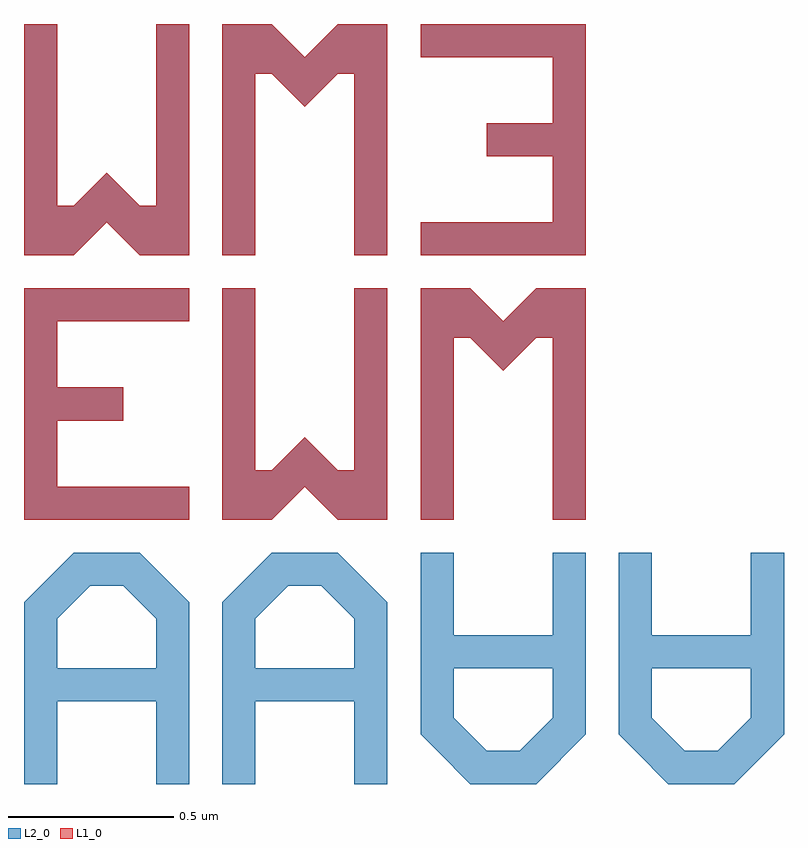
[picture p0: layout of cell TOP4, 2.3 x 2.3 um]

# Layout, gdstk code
from math import pi, radians
import gdstk
lib = gdstk.Library(unit=1e-6, precision=1e-09)
def P(c, l, *ps):  # polygons
    for p in ps: c.add(gdstk.Polygon(p, *l))
L1_0 = (1, 0)
L2_0 = (2, 0)

text_8_1 = lib.new_cell('TEXT$8$1')
P(text_8_1, L2_0, [(0,0),(0,0.55),(0.15,0.7),(0.35,0.7),(0.45,0.6),(0.2,0.6),(0.1,0.5),(0.1,0.35),(0.4,0.35),(0.4,0.5),(0.3,0.6),(0.45,0.6),(0.5,0.55),(0.5,0),(0.4,0),(0.4,0.25),(0.1,0.25),(0.1,0)],
  [(0.6,0),(0.6,0.55),(0.75,0.7),(0.95,0.7),(1.05,0.6),(0.8,0.6),(0.7,0.5),(0.7,0.35),(1,0.35),(1,0.5),(0.9,0.6),(1.05,0.6),(1.1,0.55),(1.1,0),(1,0),(1,0.25),(0.7,0.25),(0.7,0)])

c_aa = lib.new_cell('AA')
c_aa.add(gdstk.Reference(text_8_1, (0,0)))

text_4 = lib.new_cell('TEXT$4')
P(text_4, L1_0, [(0,0),(0,0.7),(0.5,0.7),(0.5,0.6),(0.1,0.6),(0.1,0.4),(0.3,0.4),(0.3,0.3),(0.1,0.3),(0.1,0.1),(0.5,0.1),(0.5,0)])

text_7 = lib.new_cell('TEXT$7')
P(text_7, L1_0, [(0,0),(0,0.7),(0.1,0.7),(0.1,0.15),(0.15,0.15),(0.25,0.25),(0.35,0.15),(0.4,0.15),(0.4,0.7),(0.5,0.7),(0.5,0),(0.35,0),(0.25,0.1),(0.15,0)])

text_4_1 = lib.new_cell('TEXT$4$1')
P(text_4_1, L2_0, [(0,0),(0,0.7),(0.1,0.7),(0.1,0.15),(0.15,0.15),(0.25,0.25),(0.35,0.15),(0.4,0.15),(0.4,0.7),(0.5,0.7),(0.5,0),(0.35,0),(0.25,0.1),(0.15,0)])

c_w = lib.new_cell('W')
c_w.add(gdstk.Reference(text_7, (0,0)))
c_w.add(gdstk.Reference(text_4_1, (0,0)))

text_3_1 = lib.new_cell('TEXT$3$1')
P(text_3_1, L2_0, [(0,0),(0,0.7),(0.5,0.7),(0.5,0.6),(0.1,0.6),(0.1,0.4),(0.3,0.4),(0.3,0.3),(0.1,0.3),(0.1,0.1),(0.5,0.1),(0.5,0)])

c_e = lib.new_cell('E')
c_e.add(gdstk.Reference(text_4, (0,0)))
c_e.add(gdstk.Reference(c_w, (0.6,0)))
c_e.add(gdstk.Reference(c_w, (1.7,0.7), rotation=pi))
c_e.add(gdstk.Reference(text_3_1, (0,0)))

top4 = lib.new_cell('TOP4')
top4.add(gdstk.Reference(c_aa, (0,0)))
top4.add(gdstk.Reference(c_aa, (2.3,0.7), rotation=pi))
top4.add(gdstk.Reference(c_e, (0,0.8)))
top4.add(gdstk.Reference(c_e, (1.7,2.3), rotation=pi))

lib.write_gds('TOP4.gds')
